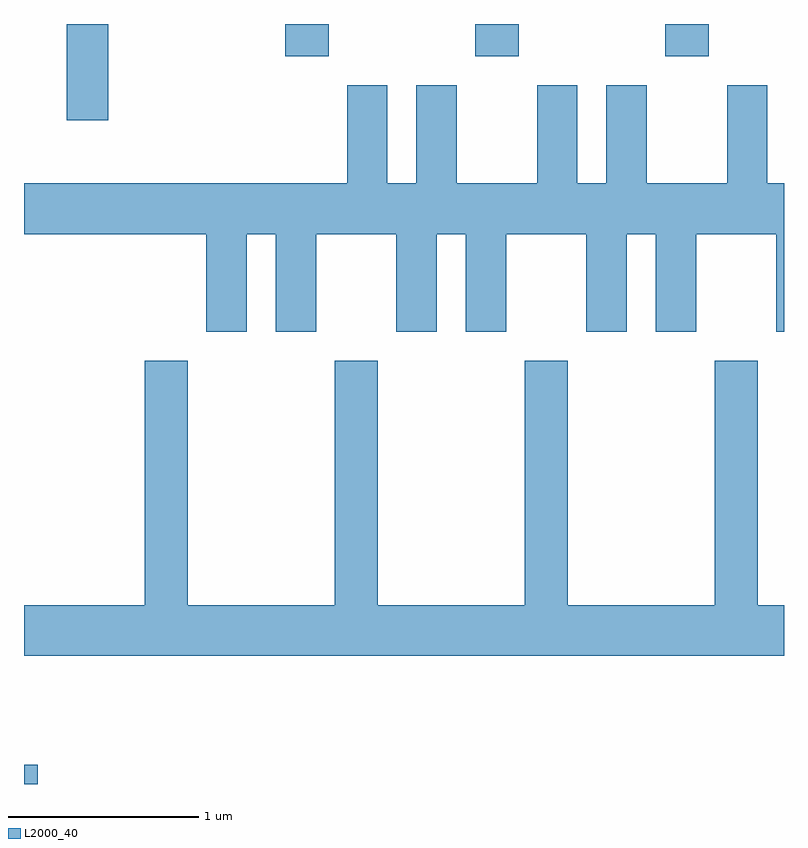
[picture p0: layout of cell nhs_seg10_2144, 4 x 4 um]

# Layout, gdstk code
import gdstk
lib = gdstk.Library(unit=1e-6, precision=1e-09)
def R(c, l, rs):  # rectangles x0, y0, x1, y1
    for r in rs: c.add(gdstk.rectangle(r[:2], r[2:], *l))
def A(c, l, x, y, w, h, nx, ny, dx, dy):  # array of equal rectangles
    R(c, l, [(x+i*dx, y+j*dy, x+i*dx+w, y+j*dy+h) for i in range(nx) for j in range(ny)])
def P(c, l, *ps):  # polygons
    for p in ps: c.add(gdstk.Polygon(p, *l))
L2000_40 = (2000, 40)

nhs_seg10_2144 = lib.new_cell('nhs_seg10_2144')
A(nhs_seg10_2144, L2000_40, 248.986, 2170.351, 0.228, 0.171, 3, 1, 1, 0)
R(nhs_seg10_2144, L2000_40, [(247.611,2166.522,247.684,2166.624), (247.836,2170.016,248.054,2170.522)])
P(nhs_seg10_2144, L2000_40, [(248.784,2169.416),(248.936,2169.416),(248.936,2168.901),(249.149,2168.901),(249.149,2169.416),(249.571,2169.416),(249.571,2168.901),(249.784,2168.901),(249.784,2169.416),(249.936,2169.416),(249.936,2168.901),(250.149,2168.901),(250.149,2169.416),(250.571,2169.416),(250.571,2168.901),(250.784,2168.901),(250.784,2169.416),(250.936,2169.416),(250.936,2168.901),(251.149,2168.901),(251.149,2169.416),(251.571,2169.416),(251.571,2168.901),(251.611,2168.901),(251.611,2169.684),(251.524,2169.684),(251.524,2170.199),(251.311,2170.199),(251.311,2169.684),(250.889,2169.684),(250.889,2170.199),(250.676,2170.199),(250.676,2169.684),(250.524,2169.684),(250.524,2170.199),(250.311,2170.199),(250.311,2169.684),(249.889,2169.684),(249.889,2170.199),(249.676,2170.199),(249.676,2169.684),(249.524,2169.684),(249.524,2170.199),(249.311,2170.199),(249.311,2169.684),(247.611,2169.684),(247.611,2169.416),(248.571,2169.416),(248.571,2168.901),(248.784,2168.901)],
  [(251.611,2167.464),(251.474,2167.464),(251.474,2168.749),(251.246,2168.749),(251.246,2167.464),(250.474,2167.464),(250.474,2168.749),(250.246,2168.749),(250.246,2167.464),(249.474,2167.464),(249.474,2168.749),(249.246,2168.749),(249.246,2167.464),(248.474,2167.464),(248.474,2168.749),(248.246,2168.749),(248.246,2167.464),(247.611,2167.464),(247.611,2167.196),(251.611,2167.196)])

lib.write_gds('nhs_seg10_2144.gds')
